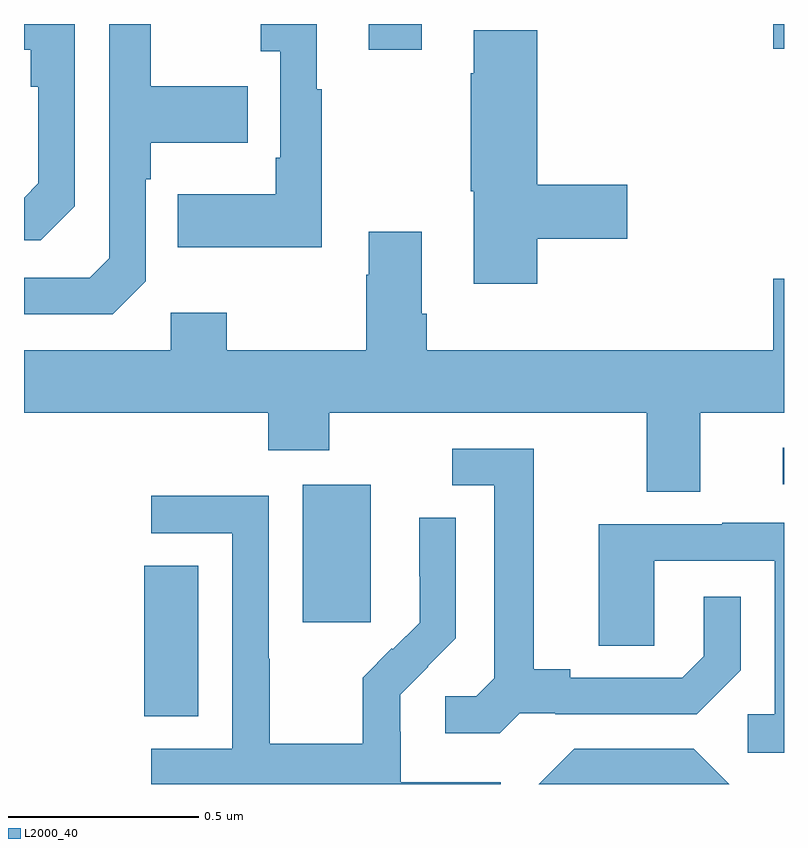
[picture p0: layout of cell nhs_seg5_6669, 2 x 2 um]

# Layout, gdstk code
import gdstk
lib = gdstk.Library(unit=1e-6, precision=1e-09)
def R(c, l, rs):  # rectangles x0, y0, x1, y1
    for r in rs: c.add(gdstk.rectangle(r[:2], r[2:], *l))
def P(c, l, *ps):  # polygons
    for p in ps: c.add(gdstk.Polygon(p, *l))
L2000_40 = (2000, 40)

nhs_seg5_6669 = lib.new_cell('nhs_seg5_6669')
R(nhs_seg5_6669, L2000_40, [(199.316,839.977,199.459,840.374), (199.733,840.225,199.912,840.586), (200.997,840.588,201,840.684), (199.907,841.731,200.047,841.799), (200.972,841.734,201,841.799)])
P(nhs_seg5_6669, L2000_40, [(199.134,841.32),(199.134,841.799),(199,841.799),(199,841.731),(199.018,841.731),(199.018,841.634),(199.038,841.634),(199.038,841.38),(199,841.342),(199,841.23),(199.044,841.23)],
  [(199.783,841.627),(199.771,841.627),(199.771,841.799),(199.623,841.799),(199.623,841.727),(199.674,841.727),(199.674,841.447),(199.662,841.447),(199.662,841.351),(199.405,841.351),(199.405,841.211),(199.783,841.211)],
  [(199.32,841.122),(199.32,841.391),(199.333,841.391),(199.333,841.487),(199.589,841.487),(199.589,841.635),(199.333,841.635),(199.333,841.799),(199.224,841.799),(199.224,841.182),(199.173,841.131),(199,841.131),(199,841.035),(199.233,841.035)],
  [(200.351,841.234),(200.587,841.234),(200.587,841.376),(200.351,841.376),(200.351,841.783),(200.183,841.783),(200.183,841.67),(200.176,841.67),(200.176,841.359),(200.183,841.359),(200.183,841.116),(200.351,841.116)],
  [(200.779,840.776),(201,840.776),(201,841.129),(200.972,841.129),(200.972,840.94),(200.06,840.94),(200.06,841.036),(200.047,841.036),(200.047,841.252),(199.907,841.252),(199.907,841.139),(199.9,841.139),(199.9,840.94),(199.533,840.94),(199.533,841.039),(199.386,841.039),(199.386,840.94),(199,840.94),(199,840.776),(199.643,840.776),(199.643,840.677),(199.803,840.677),(199.803,840.776),(200.639,840.776),(200.639,840.568),(200.779,840.568)],
  [(200.304,839.985),(200.398,839.985),(200.398,839.982),(200.77,839.982),(200.886,840.098),(200.886,840.292),(200.789,840.292),(200.789,840.135),(200.732,840.078),(200.437,840.078),(200.437,840.101),(200.341,840.101),(200.341,840.681),(200.127,840.681),(200.127,840.585),(200.237,840.585),(200.237,840.077),(200.19,840.03),(200.109,840.03),(200.109,839.933),(200.252,839.933)],
  [(200.763,839.892),(200.448,839.892),(200.355,839.799),(200.856,839.799)],
  [(201,840.487),(200.837,840.487),(200.837,840.483),(200.513,840.483),(200.513,840.163),(200.658,840.163),(200.658,840.387),(200.976,840.387),(200.976,839.982),(200.904,839.982),(200.904,839.881),(201,839.881)],
  [(199.992,839.803),(199.992,839.937),(199.99,839.937),(199.99,840.034),(200.064,840.108),(200.063,840.109),(200.136,840.182),(200.136,840.5),(200.04,840.5),(200.04,840.346),(200.042,840.346),(200.042,840.224),(199.971,840.153),(199.968,840.156),(199.891,840.079),(199.891,839.905),(199.647,839.905),(199.647,840.128),(199.644,840.128),(199.644,840.558),(199.335,840.558),(199.335,840.459),(199.548,840.459),(199.548,839.892),(199.335,839.892),(199.335,839.799),(200.255,839.799),(200.255,839.803)])

lib.write_gds('nhs_seg5_6669.gds')
